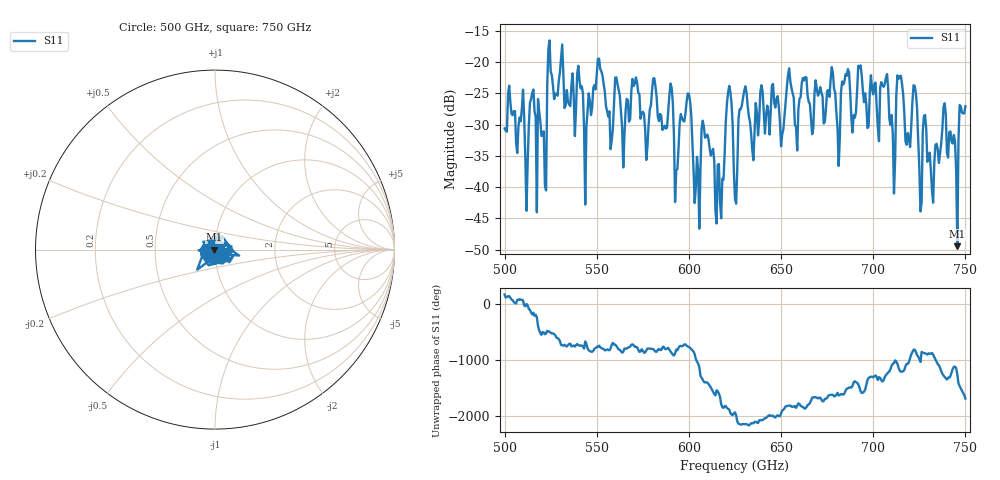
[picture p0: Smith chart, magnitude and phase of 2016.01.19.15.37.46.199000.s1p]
!Created with skrf (http://scikit-rf.org).
# GHz S RI R 50.0
!freq ReS11 ImS11
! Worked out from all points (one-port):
!   401 points, 500 GHz to 750 GHz, reference 50 ohm
!   lowest |S11| = -49.4 dB at 745.6 GHz (marker M1), VSWR 1.01, Z = 49.7 - j0.0285 ohm
!   |S11| at or under -10 dB: start of sweep to end of sweep
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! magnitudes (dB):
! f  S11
! 500 GHz  -30.6
! 511.9 GHz  -43.8
! 515 GHz  -24.9
! 521.2 GHz  -31.0
! 524.4 GHz  -16.5
! 531.2 GHz  -17.1
! 543.8 GHz  -42.8
! 551.2 GHz  -19.4
! 562.5 GHz  -25.3
! 590 GHz  -23.4
! 593.8 GHz  -37.1
! 600 GHz  -25.1
! 604.4 GHz  -35.1
! 608.1 GHz  -30.4
! 616.2 GHz  -36.3
! 621.9 GHz  -23.8
! 625 GHz  -41.9
! 630 GHz  -24.6
! 656.2 GHz  -24.9
! 687.5 GHz  -24.9
! 706.9 GHz  -22.5
! 710.6 GHz  -31.5
! 714.4 GHz  -22.3
! 718.8 GHz  -31.3
! 722.5 GHz  -23.8
! 725.6 GHz  -43.9
! 745.6 GHz  -49.4
! 750 GHz  -27.0
